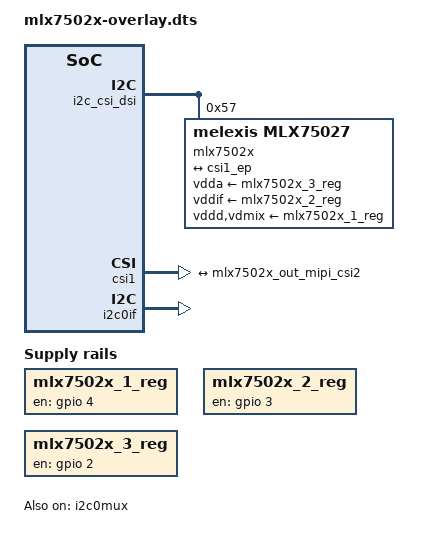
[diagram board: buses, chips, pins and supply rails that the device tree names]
// SPDX-License-Identifier: GPL-2.0-only
// DESCRIPTION
/dts-v1/;
/plugin/;

#include <dt-bindings/gpio/gpio.h>

/{

	i2c_frag: fragment@0 {
		target = <&i2c_csi_dsi>;
		__overlay__ {
			#address-cells = <1>;
			#size-cells = <0>;

			mlx7502x: camera@57 {
				compatible = "melexis,mlx75027";
				reg = <0x57>;
				clocks = <&mlx7502x_clk>;

				vdda-supply = <&mlx7502x_3_reg>;
				vddif-supply = <&mlx7502x_2_reg>;
				vddd-supply = <&mlx7502x_1_reg>;
				vdmix-supply = <&mlx7502x_1_reg>;

				rotation = <0>;
				orientation = <2>;

				port {
					mlx7502x_out_mipi_csi2: endpoint {
						remote-endpoint = <&csi1_ep>;
						clock-lanes = <0>;
						data-lanes = <1 2>;
						clock-noncontinuous;
						link-frequencies = /bits/ 64 < 960000000
										904000000
										800000000
										704000000
										600000000
										300000000 >;
					};
				};
			};
		};
	};

	csi_frag: fragment@1 {
		target = <&csi1>;
		csi: __overlay__ {
			status = "okay";

			port{
				csi1_ep: endpoint{
					remote-endpoint = <&mlx7502x_out_mipi_csi2>;
					clock-lanes = <0>;
					data-lanes = <1 2>;
				};
			};
		};
	};

	fragment@2 {
		target = <&i2c0if>;
		__overlay__ {
			status = "okay";
		};
	};

	fragment@3 {
		target = <&cam1_clk>;
		__overlay__ {
			clock-frequency = <8000000>;
			status = "okay";
		};
	};

	fragment@4 {
		target = <&i2c0mux>;
		__overlay__ {
			status = "okay";
		};
	};

	fragment@5 {
		target-path = "/";
		__overlay__ {
			mlx7502x_1_reg: cam1_regulator {
					compatible = "regulator-fixed";
					regulator-name = "mlx7502x-1-reg";
					enable-active-high;
				    gpio = <&gpio 4 GPIO_ACTIVE_HIGH>;
				};

			mlx7502x_2_reg: cam2_regulator {
					compatible = "regulator-fixed";
					regulator-name = "mlx7502x-2-reg";
					enable-active-high;
					gpio = <&gpio 3 GPIO_ACTIVE_HIGH>;
				};

			mlx7502x_3_reg: cam3_regulator {
					compatible = "regulator-fixed";
					regulator-name = "mlx7502x-3-reg";
					enable-active-high;
					gpio = <&gpio 2 GPIO_ACTIVE_HIGH>;
				};

			mlx7502x_clk: clk {
				compatible = "fixed-clock";
				#clock-cells = <0>;
				clock-frequency = <8000000>;
		    };
	    };
	};

	fragment@100 {
		target = <&csi1>;
		__dormant__ {
			compatible = "brcm,bcm2835-unicam-legacy";
		};
	};

	__overrides__ {
		rotation = <&mlx7502x>,"rotation:0";
		orientation = <&mlx7502x>,"orientation:0";
		media-controller = <0>,"!100";
	};

};
